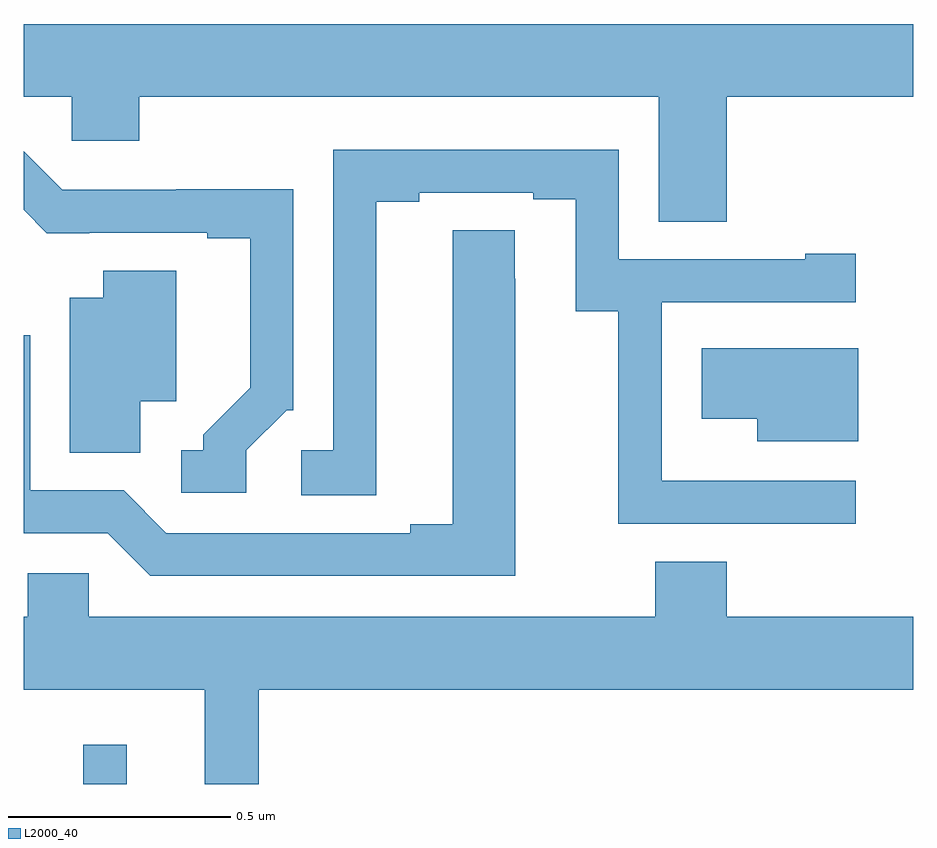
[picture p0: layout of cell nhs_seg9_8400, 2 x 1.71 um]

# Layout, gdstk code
import gdstk
lib = gdstk.Library(unit=1e-6, precision=1e-09)
def R(c, l, rs):  # rectangles x0, y0, x1, y1
    for r in rs: c.add(gdstk.rectangle(r[:2], r[2:], *l))
def P(c, l, *ps):  # polygons
    for p in ps: c.add(gdstk.Polygon(p, *l))
L2000_40 = (2000, 40)

nhs_seg9_8400 = lib.new_cell('nhs_seg9_8400')
R(nhs_seg9_8400, L2000_40, [(216.134,1237.5,216.232,1237.588)])
P(nhs_seg9_8400, L2000_40, [(217.58,1239.044),(218,1239.044),(218,1239.208),(216,1239.208),(216,1239.044),(216.108,1239.044),(216.108,1238.946),(216.26,1238.946),(216.26,1239.044),(217.427,1239.044),(217.427,1238.764),(217.58,1238.764)],
  [(217.87,1238.181),(217.436,1238.181),(217.436,1238.182),(217.434,1238.182),(217.434,1238.583),(217.87,1238.583),(217.87,1238.692),(217.757,1238.692),(217.757,1238.679),(217.338,1238.679),(217.338,1238.925),(216.696,1238.925),(216.696,1238.25),(216.624,1238.25),(216.624,1238.149),(216.793,1238.149),(216.793,1238.809),(216.889,1238.809),(216.889,1238.829),(217.145,1238.829),(217.145,1238.814),(217.241,1238.814),(217.241,1238.563),(217.336,1238.563),(217.336,1238.085),(217.87,1238.085)],
  [(216.501,1238.25),(216.591,1238.34),(216.606,1238.34),(216.606,1238.837),(216.343,1238.837),(216.343,1238.835),(216.087,1238.835),(216,1238.922),(216,1238.79),(216.052,1238.738),(216.148,1238.738),(216.148,1238.739),(216.413,1238.739),(216.413,1238.727),(216.509,1238.727),(216.509,1238.39),(216.404,1238.285),(216.404,1238.25),(216.354,1238.25),(216.354,1238.154),(216.501,1238.154)],
  [(217.105,1238.636),(217.104,1238.636),(217.104,1238.744),(216.965,1238.744),(216.965,1238.084),(216.869,1238.084),(216.869,1238.064),(216.321,1238.064),(216.225,1238.16),(216.015,1238.16),(216.015,1238.509),(216,1238.509),(216,1238.064),(216.189,1238.064),(216.285,1237.968),(217.105,1237.968)],
  [(216.262,1238.36),(216.343,1238.36),(216.343,1238.654),(216.179,1238.654),(216.179,1238.593),(216.104,1238.593),(216.104,1238.245),(216.262,1238.245)],
  [(217.876,1238.479),(217.524,1238.479),(217.524,1238.321),(217.649,1238.321),(217.649,1238.27),(217.876,1238.27)],
  [(216.529,1237.712),(218,1237.712),(218,1237.876),(217.58,1237.876),(217.58,1238),(217.42,1238),(217.42,1237.876),(216.147,1237.876),(216.147,1237.974),(216.009,1237.974),(216.009,1237.876),(216,1237.876),(216,1237.712),(216.407,1237.712),(216.407,1237.5),(216.529,1237.5)])

lib.write_gds('nhs_seg9_8400.gds')
